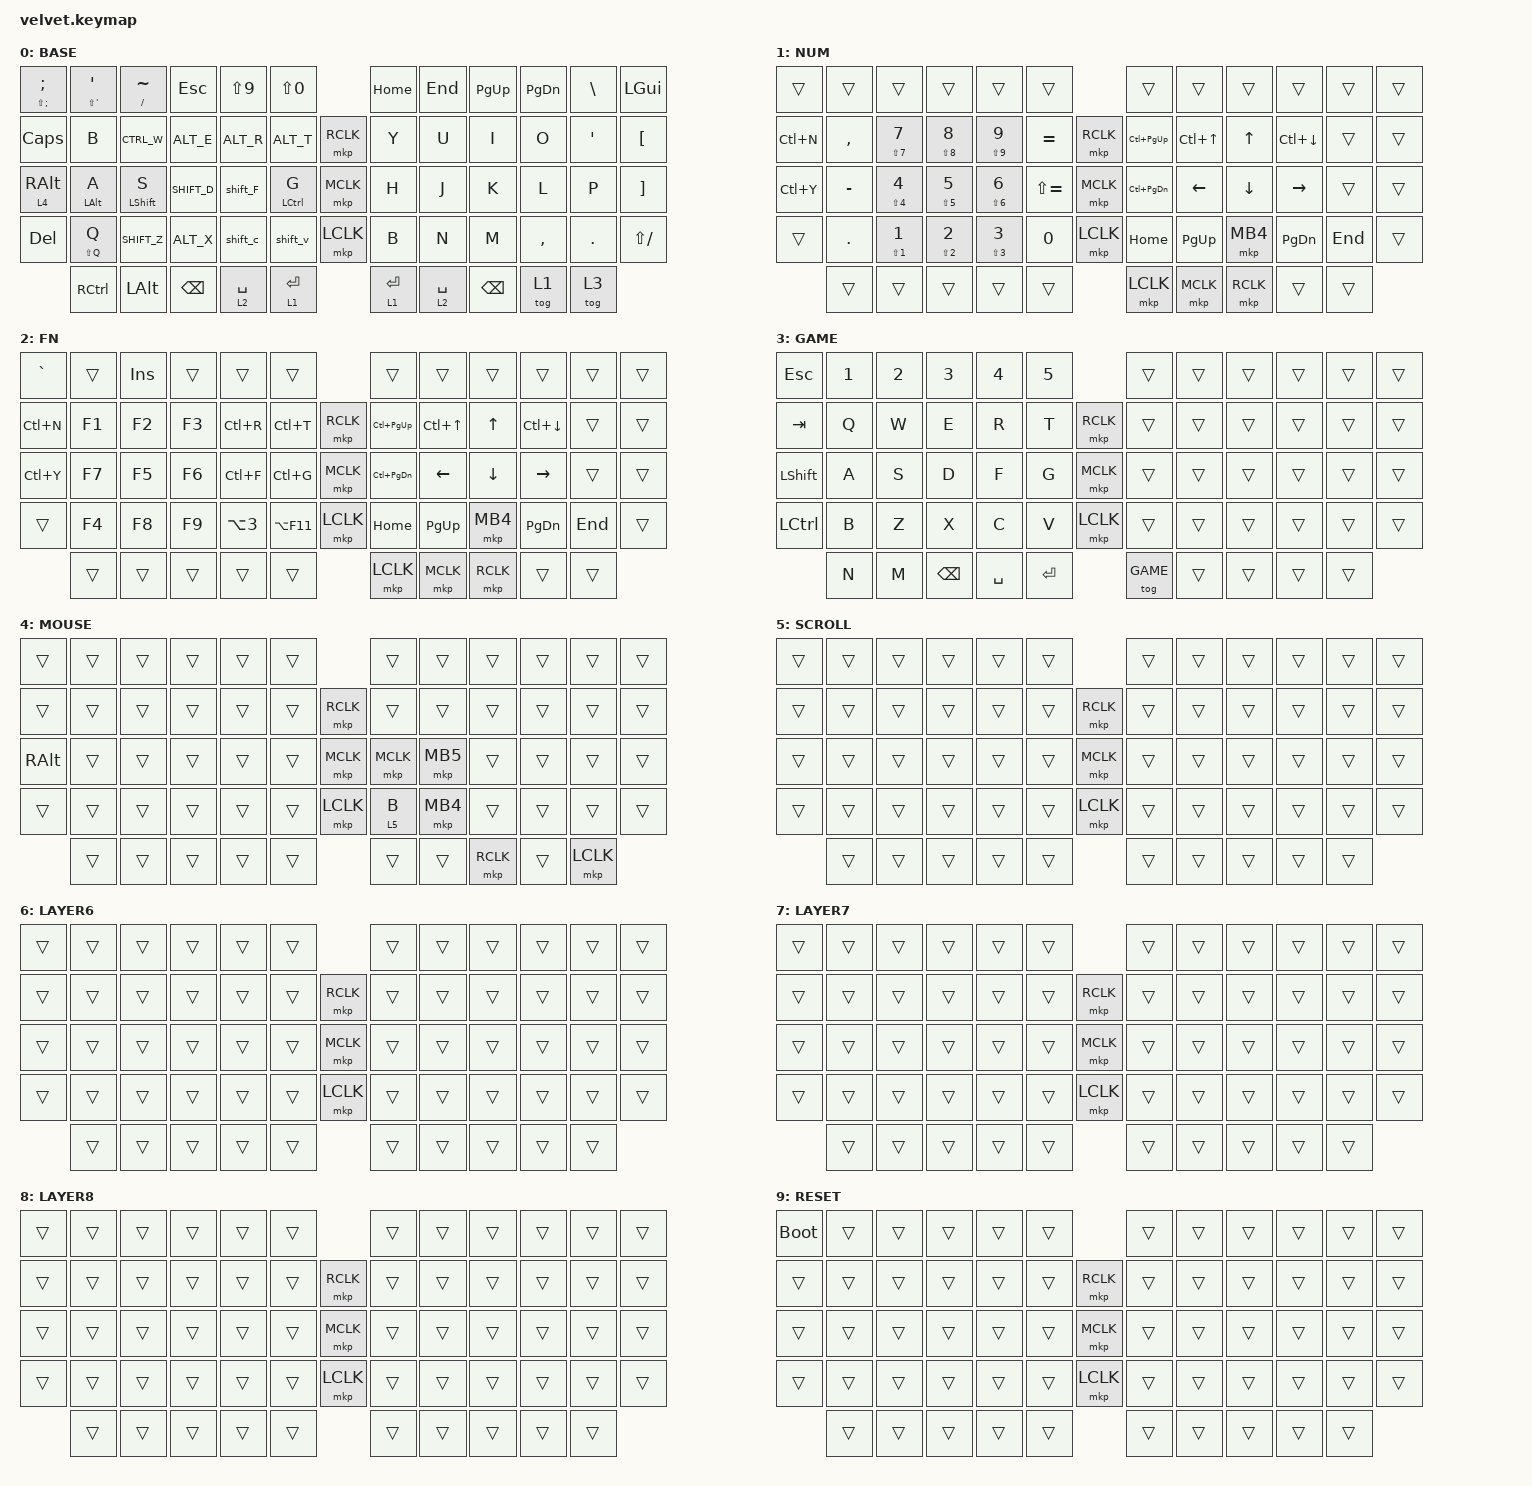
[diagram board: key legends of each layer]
/*
 * Elash Velvet keymap adapted from Sofle PLUS2 LAST_1002.vil
 * Source mapping: 6 keys per half in the four main rows; source encoder directions ignored.
 * The three central trackball click keys retain Velvet's default right/middle/left-click behavior.
 *
 * Known Vial-only features that need separate reimplementation are documented in KEYMAP_MIGRATION_NOTES.md.
 */

/* Rebuild trigger: Caps Lock font compatibility fix in Prospector module. */
#define BASE 0
#define NUM 1
#define FN 2
#define GAME 3
#define EXTRA 4
#define ZMK_POINTING_DEFAULT_MOVE_VAL 1200
#define ZMK_POINTING_DEFAULT_SCRL_VAL 35

#include <input/processors.dtsi>
#include <input/processors/runtime-input-processor.dtsi>
/* DYA-editable trackball defaults: pointer 75%, scroll 0.2x. */
&mouse_runtime_input_processor {
    scale-multiplier = <3>;
    scale-divisor = <4>;
};

&scroll_runtime_input_processor {
    scale-multiplier = <1>;
    scale-divisor = <5>;
};

#include <zephyr/dt-bindings/input/input-event-codes.h>
#include <behaviors.dtsi>
#include <dt-bindings/zmk/keys.h>
#include <dt-bindings/zmk/pointing.h>

/ {
    zip_scroll_scaler: zip_scroll_scaler {
        compatible = "zmk,input-processor-scaler";
        #input-processor-cells = <2>;
        type = <INPUT_EV_REL>;
        codes = <INPUT_REL_WHEEL INPUT_REL_HWHEEL>;
        track-remainders;
    };
};

&mmv_input_listener { input-processors = <&zip_xy_scaler 2 1>; };

/ {
    /* Keep mouse-side controls and center clicks from dismissing auto-mouse. */
    zip_mouse_temp_layer: zip_mouse_temp_layer {
        compatible = "zmk,input-processor-temp-layer";
        #input-processor-cells = <2>;
        excluded-positions = <
            6 7 8 9 10 11
            18
            19 20 21 22 23 24
            31
            32 33 34 35 36 37
            44
            45 46 47 48 49 50
            56 57 58 59 60
        >;
    };
};

&trackball_listener {
    status = "okay";
    input-processors = <&mouse_runtime_input_processor &zip_mouse_temp_layer EXTRA 700>;

    scroll_mode {
        layers = <5>;
        input-processors = <&zip_xy_to_scroll_mapper &scroll_runtime_input_processor>;
    };
};

&msc_input_listener { input-processors = <&zip_scroll_scaler 2 1>; };

&msc {
    acceleration-exponent = <0>;
    time-to-max-speed-ms = <0>;
    delay-ms = <0>;
};

&mmv {
    time-to-max-speed-ms = <400>;
    acceleration-exponent = <1>;
};

&mt {
    tapping-term-ms = <200>;
    flavor = "tap-preferred";
};

&sk {
    release-after-ms = <2000>;
    quick-release;
};

/ {
    behaviors {
        td_q: td_q {
            compatible = "zmk,behavior-tap-dance";
            label = "TD_Q";
            #binding-cells = <0>;
            tapping-term-ms = <250>;
            bindings = <&kp Q>, <&kp LS(Q)>;
        };

        td_t_mouse: td_t_mouse {
            compatible = "zmk,behavior-tap-dance";
            label = "TD_T_MOUSE";
            #binding-cells = <0>;
            tapping-term-ms = <200>;
            bindings = <&kp T>, <&mkp MCLK>;
        };

        td_semi: td_semi {
            compatible = "zmk,behavior-tap-dance";
            label = "TD_SEMI";
            #binding-cells = <0>;
            tapping-term-ms = <200>;
            bindings = <&kp SEMI>, <&kp LS(SEMI)>;
        };

        aholdtap: aholdtap {
            compatible = "zmk,behavior-hold-tap";
            label = "AHOLDTAP";
            #binding-cells = <2>;
            bindings = <&kp>, <&kp>;

            tapping-term-ms = <230>;
            quick-tap-ms = <180>;
            require-prior-idle-ms = <120>;
            flavor = "tap-preferred";
        };

        holdtap: holdtap {
            compatible = "zmk,behavior-hold-tap";
            label = "HOLDTAP";
            bindings = <&kp>, <&kp>;

            #binding-cells = <2>;
            tapping-term-ms = <170>;
            quick-tap-ms = <150>;
        };

        shift_c: shift_c {
            compatible = "zmk,behavior-mod-morph";
            label = "SHIFT_C";
            bindings = <&kp C>, <&kp LC(LS(C))>;

            #binding-cells = <0>;
            mods = <(MOD_LSFT)>;
        };

        shift_v: shift_v {
            compatible = "zmk,behavior-mod-morph";
            label = "SHIFT_V";
            bindings = <&kp V>, <&kp LS(LC(V))>;

            #binding-cells = <0>;
            mods = <(MOD_LSFT)>;
        };

        shift_F: shift_F {
            compatible = "zmk,behavior-mod-morph";
            label = "SHIFT_F";
            bindings = <&kp F>, <&kp LS(LC(F))>;

            #binding-cells = <0>;
            mods = <(MOD_LSFT)>;
        };

        ALT_E: ALT_E {
            compatible = "zmk,behavior-mod-morph";
            label = "ALT_E";
            bindings = <&kp E>, <&kp LA(LC(END))>;

            #binding-cells = <0>;
            mods = <(MOD_LALT)>;
        };

        ALT_R: ALT_R {
            compatible = "zmk,behavior-mod-morph";
            label = "ALT_R";
            bindings = <&kp R>, <&kp LS(LA(G))>;

            #binding-cells = <0>;
            mods = <(MOD_LALT)>;
        };

        ALT_T: ALT_T {
            compatible = "zmk,behavior-mod-morph";
            label = "ALT_T";
            bindings = <&kp T>, <&kp LC(LS(F10))>;

            #binding-cells = <0>;
            mods = <(MOD_LALT)>;
        };

        SHIFT_D: SHIFT_D {
            compatible = "zmk,behavior-mod-morph";
            label = "SHIFT_D";
            bindings = <&kp D>, <&kp LC(LS(A))>;

            #binding-cells = <0>;
            mods = <(MOD_LSFT)>;
        };

        CTRL_W: CTRL_W {
            compatible = "zmk,behavior-mod-morph";
            label = "CTRL_W";
            bindings = <&kp W>, <&kp LS(LC(S))>;

            #binding-cells = <0>;
            mods = <(MOD_LCTL)>;
        };

        SHIFT_Z: SHIFT_Z {
            compatible = "zmk,behavior-mod-morph";
            label = "SHIFT_Z";
            bindings = <&kp Z>, <&kp LS(LC(F10))>;

            #binding-cells = <0>;
            mods = <(MOD_LSFT)>;
        };

        ALT_X: ALT_X {
            compatible = "zmk,behavior-mod-morph";
            label = "ALT_X";
            bindings = <&kp X>, <&kp LS(LA(LC(N)))>;

            #binding-cells = <0>;
            mods = <(MOD_LALT)>;
        };
    };

    combos {
        compatible = "zmk,combos";

        combo_ctrl_x_sd {
            bindings = <&kp LC(X)>;
            key-positions = <27 28>;
            layers = <BASE>;
            timeout-ms = <50>;
        };

        combo_ctrl_c_df {
            bindings = <&kp LC(C)>;
            key-positions = <28 29>;
            layers = <BASE>;
            timeout-ms = <50>;
        };

        combo_ctrl_v_fg {
            bindings = <&kp LC(V)>;
            key-positions = <29 30>;
            layers = <BASE>;
            timeout-ms = <50>;
        };

        combo_ctrl_z_sf {
            bindings = <&kp LC(Z)>;
            key-positions = <27 29>;
            layers = <BASE>;
            timeout-ms = <50>;
        };

        combo_esc_tr {
            bindings = <&kp ESC>;
            key-positions = <16 17>;
            layers = <BASE>;
            timeout-ms = <50>;
        };

        combo_tab_re {
            bindings = <&kp TAB>;
            key-positions = <15 16>;
            layers = <BASE>;
            timeout-ms = <50>;
        };

        combo_shift_w_we {
            bindings = <&kp LS(W)>;
            key-positions = <14 15>;
            layers = <BASE>;
            timeout-ms = <50>;
        };

        combo_shift_q_qs {
            bindings = <&kp LS(Q)>;
            key-positions = <27 39>;
            layers = <BASE>;
            timeout-ms = <50>;
        };

        combo_bspc_xc {
            bindings = <&kp BSPC>;
            key-positions = <41 42>;
            layers = <BASE>;
            timeout-ms = <50>;
        };

        combo_ctrl_c_f6cf {
            bindings = <&kp LC(C)>;
            key-positions = <28 29>;
            layers = <FN>;
            timeout-ms = <50>;
        };

        combo_ctrl_v_cfcg {
            bindings = <&kp LC(V)>;
            key-positions = <29 30>;
            layers = <FN>;
            timeout-ms = <50>;
        };

        combo_ctrl_x_f5f6 {
            bindings = <&kp LC(X)>;
            key-positions = <27 28>;
            layers = <FN>;
            timeout-ms = <50>;
        };

        combo_ctrl_z_f5cf {
            bindings = <&kp LC(Z)>;
            key-positions = <27 29>;
            layers = <FN>;
            timeout-ms = <50>;
        };
    };

    keymap {
        compatible = "zmk,keymap";

        BASE {
            display-name = "BASE";
            label = "BASE";
            bindings = <
&aholdtap LS(SEMI) SEMI  &aholdtap LS(APOS) APOS  &holdtap FSLH TILDE  &kp ESC   &kp LS(N9)   &kp LS(N0)              &kp HOME     &kp END      &kp PAGE_UP    &kp PAGE_DOWN  &kp BSLH  &kp LGUI
&kp CAPS                 &kp B                    &CTRL_W              &ALT_E    &ALT_R       &ALT_T       &mkp RCLK  &kp Y        &kp U        &kp I          &kp O          &kp SQT   &kp LBKT
&lt 4 RIGHT_ALT          &aholdtap LEFT_ALT A     &mt LSHFT S          &SHIFT_D  &shift_F     &mt LCTRL G  &mkp MCLK  &kp H        &kp J        &kp K          &kp L          &kp P     &kp RBKT
&kp DEL                  &aholdtap LS(Q) Q        &SHIFT_Z             &ALT_X    &shift_c     &shift_v     &mkp LCLK  &kp B        &kp N        &kp M          &kp COMMA      &kp DOT   &kp LS(FSLH)
                         &kp RCTRL                &kp LALT             &kp BSPC  &lt 2 SPACE  &lt 1 ENTER             &lt 1 ENTER  &lt 2 SPACE  &kp BACKSPACE  &tog 1         &tog 3
            >;
        };

        NUM {
            display-name = "NUM";
            label = "NUM";
            bindings = <
&trans     &trans     &trans                     &trans                     &trans                     &trans                    &trans             &trans            &trans          &trans              &trans   &trans
&kp LC(N)  &kp COMMA  &aholdtap LS(N7) N7        &aholdtap LS(N8) N8        &aholdtap LS(N9) N9        &kp EQUAL      &mkp RCLK  &kp LC(PAGE_UP)    &kp LC(UP_ARROW)  &kp UP_ARROW    &kp LC(DOWN_ARROW)  &trans   &trans
&kp LC(Y)  &kp MINUS  &aholdtap LS(N4) NUMBER_4  &aholdtap LS(N5) N5        &aholdtap LS(N6) NUMBER_6  &kp LS(EQUAL)  &mkp MCLK  &kp LC(PAGE_DOWN)  &kp LEFT_ARROW    &kp DOWN_ARROW  &kp RIGHT_ARROW     &trans   &trans
&trans     &kp DOT    &aholdtap LS(N1) NUMBER_1  &aholdtap LS(N2) NUMBER_2  &aholdtap LS(N3) NUMBER_3  &kp N0         &mkp LCLK  &kp HOME           &kp PAGE_UP       &mkp MB4        &kp PAGE_DOWN       &kp END  &trans
           &trans     &trans                     &trans                     &trans                     &trans                    &mkp LCLK          &mkp MCLK         &mkp RCLK       &trans              &trans
            >;
        };

        FN {
            display-name = "FN";
            label = "FN";
            bindings = <
&kp GRAVE  &trans  &kp INS  &trans  &trans      &trans                  &trans             &trans       &trans     &trans         &trans   &trans
&kp LC(N)  &kp F1  &kp F2   &kp F3  &kp LC(R)   &kp LC(T)    &mkp RCLK  &kp LC(PAGE_UP)    &kp LC(UP)   &kp UP     &kp LC(DOWN)   &trans   &trans
&kp LC(Y)  &kp F7  &kp F5   &kp F6  &kp LC(F)   &kp LC(G)    &mkp MCLK  &kp LC(PAGE_DOWN)  &kp LEFT     &kp DOWN   &kp RIGHT      &trans   &trans
&trans     &kp F4  &kp F8   &kp F9  &kp LA(N3)  &kp LA(F11)  &mkp LCLK  &kp HOME           &kp PAGE_UP  &mkp MB4   &kp PAGE_DOWN  &kp END  &trans
           &trans  &trans   &trans  &trans      &trans                  &mkp LCLK          &mkp MCLK    &mkp RCLK  &trans         &trans
            >;
        };

        GAME {
            display-name = "GAME";
            label = "GAME";
            bindings = <
&kp ESC    &kp N1  &kp N2  &kp N3    &kp N4     &kp N5                &trans     &trans  &trans  &trans  &trans  &trans
&kp TAB    &kp Q   &kp W   &kp E     &kp R      &kp T      &mkp RCLK  &trans     &trans  &trans  &trans  &trans  &trans
&kp LSHFT  &kp A   &kp S   &kp D     &kp F      &kp G      &mkp MCLK  &trans     &trans  &trans  &trans  &trans  &trans
&kp LCTRL  &kp B   &kp Z   &kp X     &kp C      &kp V      &mkp LCLK  &trans     &trans  &trans  &trans  &trans  &trans
           &kp N   &kp M   &kp BSPC  &kp SPACE  &kp ENTER             &tog GAME  &trans  &trans  &trans  &trans
            >;
        };

        EXTRA {
            display-name = "MOUSE";
            label = "MOUSE";
            bindings = <
&trans  &trans  &trans  &trans  &trans  &trans             &trans  &trans  &trans  &trans  &trans  &trans
&trans  &trans  &trans  &trans  &trans  &trans  &mkp RCLK  &trans  &trans  &trans  &trans  &trans  &trans
&kp RIGHT_ALT  &trans  &trans  &trans  &trans  &trans  &mkp MCLK  &mkp MCLK  &mkp MB5  &trans  &trans  &trans  &trans
&trans  &trans  &trans  &trans  &trans  &trans  &mkp LCLK  &lt 5 B  &mkp MB4  &trans  &trans  &trans  &trans
        &trans  &trans  &trans  &trans  &trans             &trans  &trans  &mkp RCLK  &trans  &mkp LCLK
            >;
        };

        SCROLL {
            display-name = "SCROLL";
            label = "SCROLL";
            bindings = <
&trans  &trans  &trans  &trans  &trans  &trans             &trans  &trans  &trans  &trans  &trans  &trans
&trans  &trans  &trans  &trans  &trans  &trans  &mkp RCLK  &trans  &trans  &trans  &trans  &trans  &trans
&trans  &trans  &trans  &trans  &trans  &trans  &mkp MCLK  &trans  &trans  &trans  &trans  &trans  &trans
&trans  &trans  &trans  &trans  &trans  &trans  &mkp LCLK  &trans  &trans  &trans  &trans  &trans  &trans
        &trans  &trans  &trans  &trans  &trans             &trans  &trans  &trans  &trans  &trans
            >;
        };

        LAYER6 {
            display-name = "LAYER6";
            label = "LAYER6";
            bindings = <
&trans  &trans  &trans  &trans  &trans  &trans             &trans  &trans  &trans  &trans  &trans  &trans
&trans  &trans  &trans  &trans  &trans  &trans  &mkp RCLK  &trans  &trans  &trans  &trans  &trans  &trans
&trans  &trans  &trans  &trans  &trans  &trans  &mkp MCLK  &trans  &trans  &trans  &trans  &trans  &trans
&trans  &trans  &trans  &trans  &trans  &trans  &mkp LCLK  &trans  &trans  &trans  &trans  &trans  &trans
        &trans  &trans  &trans  &trans  &trans             &trans  &trans  &trans  &trans  &trans
            >;
        };

        LAYER7 {
            display-name = "LAYER7";
            label = "LAYER7";
            bindings = <
&trans  &trans  &trans  &trans  &trans  &trans             &trans  &trans  &trans  &trans  &trans  &trans
&trans  &trans  &trans  &trans  &trans  &trans  &mkp RCLK  &trans  &trans  &trans  &trans  &trans  &trans
&trans  &trans  &trans  &trans  &trans  &trans  &mkp MCLK  &trans  &trans  &trans  &trans  &trans  &trans
&trans  &trans  &trans  &trans  &trans  &trans  &mkp LCLK  &trans  &trans  &trans  &trans  &trans  &trans
        &trans  &trans  &trans  &trans  &trans             &trans  &trans  &trans  &trans  &trans
            >;
        };

        LAYER8 {
            display-name = "LAYER8";
            label = "LAYER8";
            bindings = <
&trans  &trans  &trans  &trans  &trans  &trans             &trans  &trans  &trans  &trans  &trans  &trans
&trans  &trans  &trans  &trans  &trans  &trans  &mkp RCLK  &trans  &trans  &trans  &trans  &trans  &trans
&trans  &trans  &trans  &trans  &trans  &trans  &mkp MCLK  &trans  &trans  &trans  &trans  &trans  &trans
&trans  &trans  &trans  &trans  &trans  &trans  &mkp LCLK  &trans  &trans  &trans  &trans  &trans  &trans
        &trans  &trans  &trans  &trans  &trans             &trans  &trans  &trans  &trans  &trans
            >;
        };

        RESET {
            display-name = "RESET";
            label = "RESET";
            bindings = <
&bootloader  &trans  &trans  &trans  &trans  &trans             &trans  &trans  &trans  &trans  &trans  &trans
&trans       &trans  &trans  &trans  &trans  &trans  &mkp RCLK  &trans  &trans  &trans  &trans  &trans  &trans
&trans       &trans  &trans  &trans  &trans  &trans  &mkp MCLK  &trans  &trans  &trans  &trans  &trans  &trans
&trans       &trans  &trans  &trans  &trans  &trans  &mkp LCLK  &trans  &trans  &trans  &trans  &trans  &trans
             &trans  &trans  &trans  &trans  &trans             &trans  &trans  &trans  &trans  &trans
            >;
        };
    };
};
